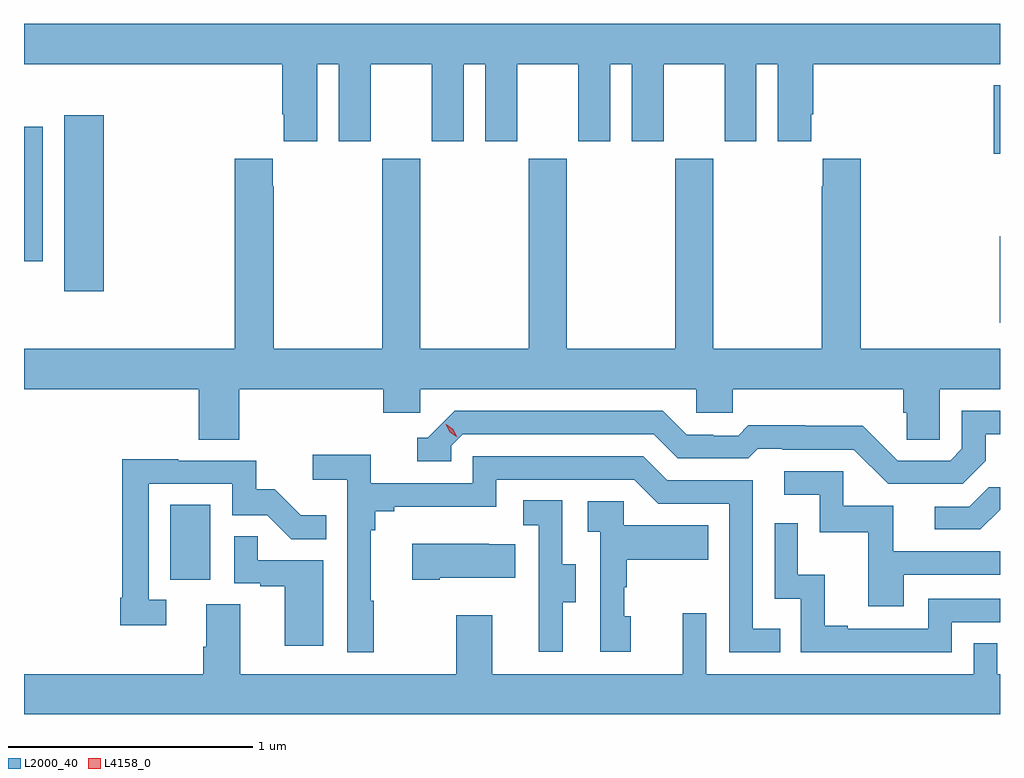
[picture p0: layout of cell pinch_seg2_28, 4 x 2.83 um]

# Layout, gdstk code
import gdstk
lib = gdstk.Library(unit=1e-6, precision=1e-09)
def R(c, l, rs):  # rectangles x0, y0, x1, y1
    for r in rs: c.add(gdstk.rectangle(r[:2], r[2:], *l))
def P(c, l, *ps):  # polygons
    for p in ps: c.add(gdstk.Polygon(p, *l))
L2000_40 = (2000, 40)
L4158_0 = (4158, 0)

pinch_seg2_28 = lib.new_cell('pinch_seg2_28')
R(pinch_seg2_28, L2000_40, [(1089.95,654.846,1090.114,655.153), (1093.349,655.899,1093.35,656.254), (1089.515,656.028,1089.676,656.749), (1089.35,656.151,1089.426,656.702), (1093.325,656.592,1093.35,656.872)])
P(pinch_seg2_28, L2000_40, [(1090.552,656.96),(1090.64,656.96),(1090.64,656.643),(1090.771,656.643),(1090.771,656.96),(1091.021,656.96),(1091.021,656.643),(1091.152,656.643),(1091.152,656.96),(1091.24,656.96),(1091.24,656.643),(1091.371,656.643),(1091.371,656.96),(1091.621,656.96),(1091.621,656.643),(1091.752,656.643),(1091.752,656.96),(1091.84,656.96),(1091.84,656.643),(1091.971,656.643),(1091.971,656.96),(1092.221,656.96),(1092.221,656.643),(1092.352,656.643),(1092.352,656.96),(1092.44,656.96),(1092.44,656.643),(1092.577,656.643),(1092.577,656.755),(1092.584,656.755),(1092.584,656.96),(1093.35,656.96),(1093.35,657.124),(1089.35,657.124),(1089.35,656.96),(1090.409,656.96),(1090.409,656.755),(1090.415,656.755),(1090.415,656.643),(1090.552,656.643)],
  [(1090.232,655.628),(1090.823,655.628),(1090.823,655.53),(1090.974,655.53),(1090.974,655.628),(1092.105,655.628),(1092.105,655.53),(1092.255,655.53),(1092.255,655.628),(1092.953,655.628),(1092.953,655.53),(1092.967,655.53),(1092.967,655.42),(1093.104,655.42),(1093.104,655.628),(1093.35,655.628),(1093.35,655.792),(1092.779,655.792),(1092.779,656.572),(1092.623,656.572),(1092.623,656.459),(1092.619,656.459),(1092.619,655.792),(1092.174,655.792),(1092.174,656.572),(1092.019,656.572),(1092.019,655.792),(1091.574,655.792),(1091.574,656.572),(1091.419,656.572),(1091.419,655.792),(1090.974,655.792),(1090.974,656.572),(1090.819,656.572),(1090.819,655.792),(1090.374,655.792),(1090.374,656.459),(1090.369,656.459),(1090.369,656.572),(1090.214,656.572),(1090.214,655.792),(1089.35,655.792),(1089.35,655.628),(1090.067,655.628),(1090.067,655.42),(1090.232,655.42)],
  [(1093.291,655.333),(1093.291,655.443),(1093.35,655.443),(1093.35,655.539),(1093.194,655.539),(1093.194,655.383),(1093.146,655.335),(1092.93,655.335),(1092.788,655.477),(1092.552,655.477),(1092.552,655.48),(1092.319,655.48),(1092.277,655.437),(1092.174,655.437),(1092.174,655.44),(1092.067,655.44),(1091.968,655.539),(1091.115,655.539),(1091.004,655.428),(1090.961,655.428),(1090.961,655.332),(1091.1,655.332),(1091.1,655.395),(1091.148,655.443),(1091.931,655.443),(1092.03,655.344),(1092.319,655.344),(1092.358,655.383),(1092.457,655.383),(1092.457,655.38),(1092.75,655.38),(1092.891,655.239),(1093.197,655.239)],
  [(1090.783,654.761),(1090.771,654.761),(1090.771,655.049),(1090.79,655.049),(1090.79,655.126),(1090.867,655.126),(1090.867,655.145),(1091.286,655.145),(1091.286,655.257),(1091.85,655.257),(1091.949,655.158),(1092.24,655.158),(1092.24,654.549),(1092.449,654.549),(1092.449,654.645),(1092.336,654.645),(1092.336,655.254),(1091.986,655.254),(1091.887,655.353),(1091.19,655.353),(1091.19,655.242),(1090.772,655.242),(1090.772,655.358),(1090.533,655.358),(1090.533,655.256),(1090.674,655.256),(1090.674,654.549),(1090.783,654.549)],
  [(1089.934,654.765),(1089.861,654.765),(1089.861,655.239),(1090.203,655.239),(1090.203,655.11),(1090.347,655.11),(1090.445,655.012),(1090.589,655.012),(1090.589,655.111),(1090.485,655.111),(1090.378,655.218),(1090.302,655.218),(1090.302,655.335),(1089.983,655.335),(1089.983,655.34),(1089.753,655.34),(1089.753,654.772),(1089.745,654.772),(1089.745,654.66),(1089.934,654.66)],
  [(1092.955,654.867),(1093.35,654.867),(1093.35,654.963),(1092.913,654.963),(1092.913,655.149),(1092.708,655.149),(1092.708,655.29),(1092.465,655.29),(1092.465,655.194),(1092.612,655.194),(1092.612,655.041),(1092.811,655.041),(1092.811,654.738),(1092.955,654.738)],
  [(1093.35,655.133),(1093.35,655.226),(1093.304,655.226),(1093.224,655.146),(1093.083,655.146),(1093.083,655.053),(1093.27,655.053)],
  [(1091.557,654.754),(1091.611,654.754),(1091.611,654.909),(1091.556,654.909),(1091.556,655.172),(1091.397,655.172),(1091.397,655.069),(1091.46,655.069),(1091.46,654.765),(1091.459,654.765),(1091.459,654.552),(1091.557,654.552)],
  [(1091.836,654.696),(1091.811,654.696),(1091.811,654.815),(1091.821,654.815),(1091.821,654.929),(1092.155,654.929),(1092.155,655.069),(1091.808,655.069),(1091.808,655.167),(1091.661,655.167),(1091.661,655.043),(1091.712,655.043),(1091.712,654.552),(1091.836,654.552)],
  [(1093.152,654.672),(1093.35,654.672),(1093.35,654.768),(1093.056,654.768),(1093.056,654.645),(1092.727,654.645),(1092.727,654.658),(1092.632,654.658),(1092.632,654.866),(1092.522,654.866),(1092.522,655.078),(1092.426,655.078),(1092.426,654.768),(1092.534,654.768),(1092.534,654.549),(1093.152,654.549)],
  [(1090.576,654.927),(1090.307,654.927),(1090.307,655.025),(1090.212,655.025),(1090.212,654.831),(1090.319,654.831),(1090.319,654.819),(1090.418,654.819),(1090.418,654.576),(1090.576,654.576)],
  [(1091.053,654.854),(1091.363,654.854),(1091.363,654.991),(1091.255,654.991),(1091.255,654.994),(1090.941,654.994),(1090.941,654.847),(1091.053,654.847)],
  [(1093.35,654.46),(1093.338,654.46),(1093.338,654.587),(1093.242,654.587),(1093.242,654.46),(1092.147,654.46),(1092.147,654.709),(1092.05,654.709),(1092.05,654.46),(1091.269,654.46),(1091.269,654.7),(1091.122,654.7),(1091.122,654.46),(1090.237,654.46),(1090.237,654.746),(1090.097,654.746),(1090.097,654.572),(1090.085,654.572),(1090.085,654.46),(1089.35,654.46),(1089.35,654.296),(1093.35,654.296)])
P(pinch_seg2_28, L4158_0, [(1091.125,655.43),(1091.095,655.45),(1091.079,655.483),(1091.079,655.483),(1091.08,655.483),(1091.11,655.463),(1091.125,655.43),(1091.125,655.43)])

lib.write_gds('pinch_seg2_28.gds')
